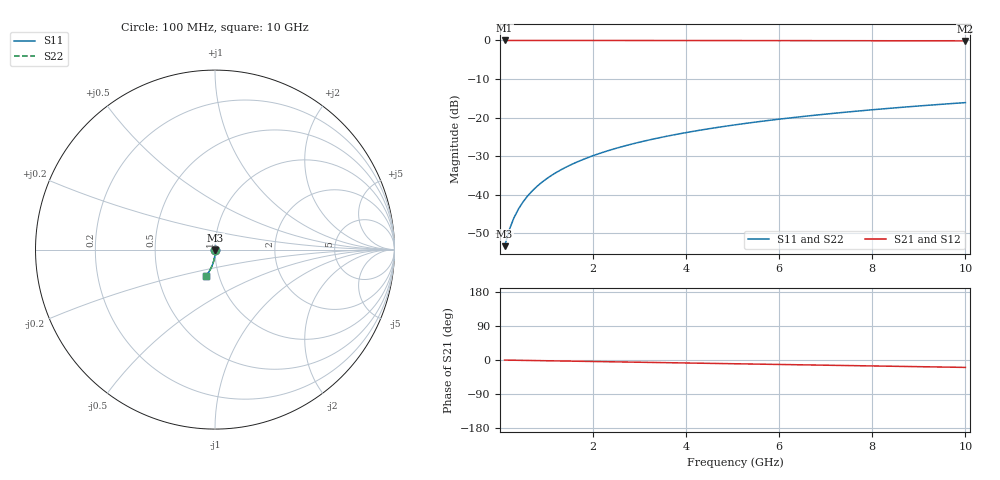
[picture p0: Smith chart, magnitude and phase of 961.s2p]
# Hz S RI R 50.00
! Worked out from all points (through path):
!   100 points, 100 MHz to 10 GHz, reference 50 ohm
!   highest |S21| = -0.01 dB at 100 MHz (marker M1); lowest = -0.1 dB at 10 GHz (marker M2)
!   group delay of S21, straight-line fit = 5.43 ps
!   lowest |S11| = -53.3 dB at 100 MHz (marker M3), VSWR 1.00, Z = 50.1 - j0.162 ohm
!   |S11| at or under -10 dB: start of sweep to end of sweep
!   |S22| runs from -53.3 to -16.1 dB; largest |S21 - S12| = 0
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1e8  0.00145 -0.00161  0.9985 -0.00343  0.9985 -0.00343  0.00145 -0.00161
2e8  0.00144 -0.00322  0.9985 -0.00686  0.9985 -0.00686  0.00144 -0.00322
3e8  0.00141 -0.00484  0.9985 -0.0103  0.9985 -0.0103  0.00141 -0.00484
4e8  0.00138 -0.00645  0.9984 -0.0137  0.9984 -0.0137  0.00138 -0.00645
5e8  0.00133 -0.00806  0.9983 -0.0171  0.9983 -0.0171  0.00133 -0.00806
6e8  0.00127 -0.00967  0.9982 -0.0206  0.9982 -0.0206  0.00127 -0.00967
7e8  0.0012 -0.0113  0.9981 -0.024  0.9981 -0.024  0.0012 -0.0113
8e8  0.00112 -0.0129  0.998 -0.0274  0.998 -0.0274  0.00112 -0.0129
9e8  0.00103 -0.0145  0.9979 -0.0309  0.9979 -0.0309  0.00103 -0.0145
1.1e9  0.000809 -0.0177  0.9976 -0.0377  0.9976 -0.0377  0.000809 -0.0177
1.4e9  0.000397 -0.0225  0.997 -0.048  0.997 -0.048  0.000397 -0.0225
1.8e9  -0.000308 -0.0289  0.9961 -0.0616  0.9961 -0.0616  -0.000308 -0.0289
2.1e9  -0.000952 -0.0337  0.9953 -0.0719  0.9953 -0.0719  -0.000952 -0.0337
2.5e9  -0.00196 -0.0401  0.9939 -0.0855  0.9939 -0.0855  -0.00196 -0.0401
2.9e9  -0.00315 -0.0464  0.9924 -0.0991  0.9924 -0.0991  -0.00315 -0.0464
3.4e9  -0.00487 -0.0543  0.9901 -0.1161  0.9901 -0.1161  -0.00487 -0.0543
4.2e9  -0.00819 -0.0667  0.9857 -0.143  0.9857 -0.143  -0.00819 -0.0667
5.1e9  -0.0127 -0.0804  0.9798 -0.1731  0.9798 -0.1731  -0.0127 -0.0804
5.9e9  -0.0174 -0.0923  0.9736 -0.1995  0.9736 -0.1995  -0.0174 -0.0923
6.7e9  -0.0228 -0.1039  0.9665 -0.2257  0.9665 -0.2257  -0.0228 -0.1039
8.4e9  -0.0361 -0.1275  0.9488 -0.2801  0.9488 -0.2801  -0.0361 -0.1275
1e10  -0.051 -0.148  0.9289 -0.3296  0.9289 -0.3296  -0.051 -0.148
